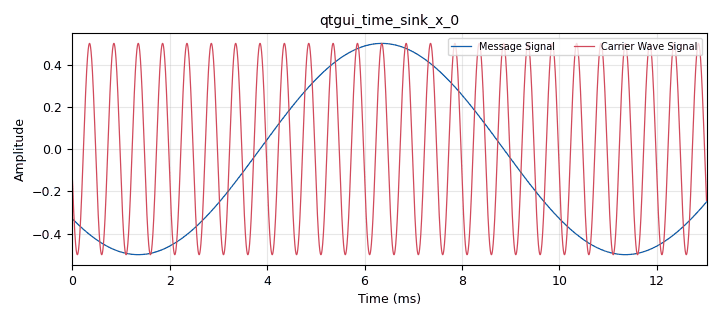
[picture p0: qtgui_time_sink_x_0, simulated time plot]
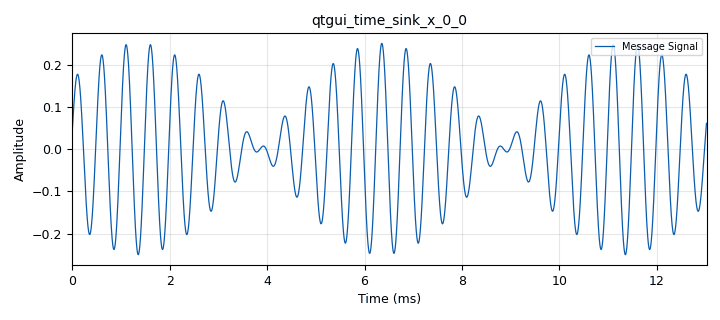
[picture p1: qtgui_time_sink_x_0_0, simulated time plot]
options:
  parameters:
    author: vishalgajjar
    generate_options: qt_gui
    id: speech_modulation
    output_language: python
    title: Not titled yet
  states: {}

blocks:
- name: fsamp
  id: variable_qtgui_range
  parameters:
    label: Sampling Frequency
    start: '1000'
    step: '100'
    stop: '5000'
    value: '2000'
  states: {}
- name: fsignal
  id: variable_qtgui_range
  parameters:
    label: Signal Frequency
    start: '10'
    step: '10'
    stop: '500'
    value: '100'
  states: {}
- name: samp_rate
  id: variable
  parameters:
    value: '768000'
  states: {}
- name: signal_rate
  id: variable
  parameters:
    value: '48000'
  states: {}
- name: analog_sig_source_x_0
  id: analog_sig_source_x
  parameters:
    amp: '0.5'
    freq: fsamp
    offset: '0'
    phase: '0'
    samp_rate: samp_rate
    type: float
    waveform: analog.GR_COS_WAVE
  states: {}
- name: analog_sig_source_x_0_0
  id: analog_sig_source_x
  parameters:
    amp: '0.5'
    freq: fsignal
    offset: '0'
    phase: '0'
    samp_rate: samp_rate
    type: float
    waveform: analog.GR_COS_WAVE
  states: {}
- name: blocks_multiply_xx_0
  id: blocks_multiply_xx
  parameters:
    type: float
  states: {}
- name: qtgui_time_sink_x_0
  id: qtgui_time_sink_x
  parameters:
    autoscale: 'True'
    label1: Message Signal
    label2: Carrier Wave Signal
    nconnections: '2'
    size: '10000'
    srate: samp_rate
    type: float
  states: {}
- name: qtgui_time_sink_x_0_0
  id: qtgui_time_sink_x
  parameters:
    autoscale: 'True'
    label1: Message Signal
    size: '10000'
    srate: samp_rate
    type: float
  states: {}

connections:
- [analog_sig_source_x_0, '0', blocks_multiply_xx_0, '1']
- [analog_sig_source_x_0, '0', qtgui_time_sink_x_0, '1']
- [analog_sig_source_x_0_0, '0', blocks_multiply_xx_0, '0']
- [analog_sig_source_x_0_0, '0', qtgui_time_sink_x_0, '0']
- [blocks_multiply_xx_0, '0', qtgui_time_sink_x_0_0, '0']

metadata:
  file_format: 1
  grc_version: 3.10.7.0
